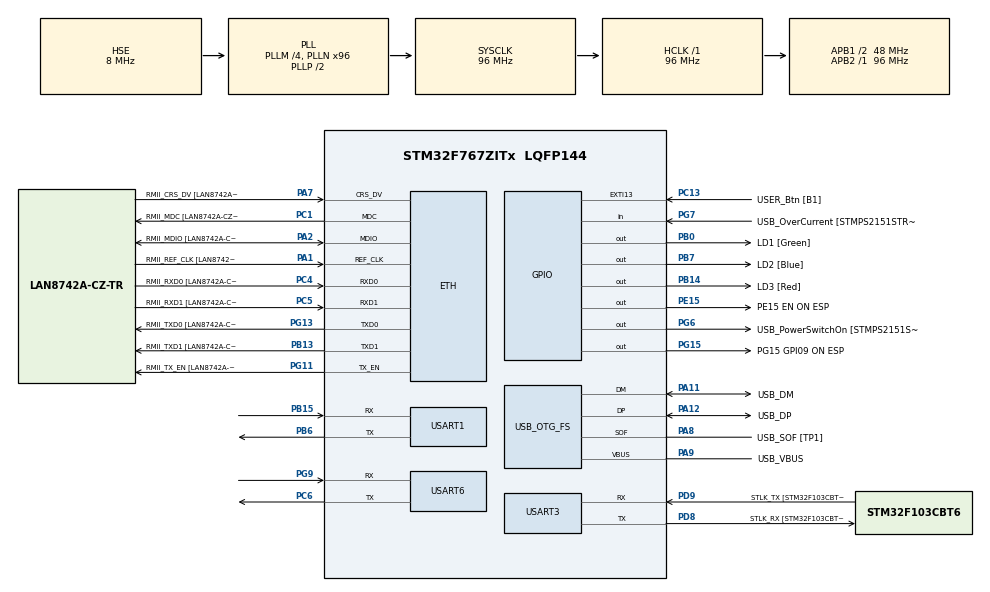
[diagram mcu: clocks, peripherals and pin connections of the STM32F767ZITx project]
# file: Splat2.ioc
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ETH.MediaInterface=ETH_MEDIA_INTERFACE_RMII
FREERTOS.Tasks01=defaultTask,24,128,StartDefaultTask,Default,NULL,Dynamic,NULL,NULL;displayTask,8,128,StartDisplayControllerTask,Default,NULL,Dynamic,NULL,NULL;programmerTask,32,128,StartProgrammerTask,Default,NULL,Dynamic,NULL,NULL
FREERTOS.configUSE_NEWLIB_REENTRANT=1
LWIP.LWIP_NETIF_STATUS_CALLBACK=1
LWIP.Version=v2.1.2_Cube
Mcu.Family=STM32F7
Mcu.Name=STM32F767ZITx
Mcu.Package=LQFP144
NVIC.ETH_IRQn=true\:5\:0\:false\:false\:true\:true\:true\:true
NVIC.OTG_FS_IRQn=true\:5\:0\:false\:false\:true\:true\:false\:true
NVIC.PriorityGroup=NVIC_PRIORITYGROUP_4
NVIC.TIM6_DAC_IRQn=true\:0\:0\:false\:false\:true\:false\:false\:true
NVIC.TimeBase=TIM6_DAC_IRQn
NVIC.TimeBaseIP=TIM6
NVIC.USART3_IRQn=true\:5\:0\:false\:false\:true\:true\:true\:true
PA1.GPIO_Label=RMII_REF_CLK [LAN8742A-CZ-TR_REFCLK0]
PA1.Mode=RMII
PA1.Signal=ETH_REF_CLK
PA10.GPIO_Label=USB_ID
PA10.Signal=USB_OTG_FS_ID
PA11.GPIO_Label=USB_DM
PA11.Mode=Device_Only
PA11.Signal=USB_OTG_FS_DM
PA12.GPIO_Label=USB_DP
PA12.Mode=Device_Only
PA12.Signal=USB_OTG_FS_DP
PA13.GPIO_Label=TMS
PA13.Mode=Serial_Wire
PA13.Signal=SYS_JTMS-SWDIO
PA14.GPIO_Label=TCK
PA14.Mode=Serial_Wire
PA14.Signal=SYS_JTCK-SWCLK
PA2.GPIO_Label=RMII_MDIO [LAN8742A-CZ-TR_MDIO]
PA2.Mode=RMII
PA2.Signal=ETH_MDIO
PA7.GPIO_Label=RMII_CRS_DV [LAN8742A-CZ-TR_CRS_DV]
PA7.Mode=RMII
PA7.Signal=ETH_CRS_DV
PA8.GPIO_Label=USB_SOF [TP1]
PA8.Mode=Activate_SOF_FS
PA8.Signal=USB_OTG_FS_SOF
PA9.GPIO_Label=USB_VBUS
PA9.Mode=Activate_VBUS
PA9.Signal=USB_OTG_FS_VBUS
PB0.GPIO_Label=LD1 [Green]
PB0.Signal=GPIO_Output
PB13.GPIO_Label=RMII_TXD1 [LAN8742A-CZ-TR_TXD1]
PB13.Mode=RMII
PB13.Signal=ETH_TXD1
PB14.GPIO_Label=LD3 [Red]
PB14.Signal=GPIO_Output
PB15.Mode=Asynchronous
PB15.Signal=USART1_RX
PB3.GPIO_Label=SWO
PB3.Signal=SYS_JTDO-SWO
PB6.Mode=Asynchronous
PB6.Signal=USART1_TX
PB7.GPIO_Label=LD2 [Blue]
PB7.Signal=GPIO_Output
PC1.GPIO_Label=RMII_MDC [LAN8742A-CZ-TR_MDC]
PC1.Mode=RMII
PC1.Signal=ETH_MDC
PC13.GPIO_Label=USER_Btn [B1]
PC13.Signal=GPXTI13
PC14/OSC32_IN.Mode=LSE-External-Oscillator
PC14/OSC32_IN.Signal=RCC_OSC32_IN
PC15/OSC32_OUT.Mode=LSE-External-Oscillator
PC15/OSC32_OUT.Signal=RCC_OSC32_OUT
PC4.GPIO_Label=RMII_RXD0 [LAN8742A-CZ-TR_RXD0]
PC4.Mode=RMII
PC4.Signal=ETH_RXD0
PC5.GPIO_Label=RMII_RXD1 [LAN8742A-CZ-TR_RXD1]
PC5.Mode=RMII
PC5.Signal=ETH_RXD1
PC6.Mode=Asynchronous
PC6.Signal=USART6_TX
PD8.GPIO_Label=STLK_RX [STM32F103CBT6_PA3]
PD8.Mode=Asynchronous
PD8.Signal=USART3_TX
PD9.GPIO_Label=STLK_TX [STM32F103CBT6_PA2]
PD9.Mode=Asynchronous
PD9.Signal=USART3_RX
PE15.GPIO_Label=PE15 EN ON ESP
PE15.GPIO_PuPd=GPIO_PULLUP
PE15.PinState=GPIO_PIN_SET
PE15.Signal=GPIO_Output
PG11.GPIO_Label=RMII_TX_EN [LAN8742A-CZ-TR_TXEN]
PG11.Mode=RMII
PG11.Signal=ETH_TX_EN
PG13.GPIO_Label=RMII_TXD0 [LAN8742A-CZ-TR_TXD0]
PG13.Mode=RMII
PG13.Signal=ETH_TXD0
PG15.GPIO_Label=PG15 GPI09 ON ESP
PG15.PinState=GPIO_PIN_SET
PG15.Signal=GPIO_Output
PG6.GPIO_Label=USB_PowerSwitchOn [STMPS2151STR_EN]
PG6.Signal=GPIO_Output
PG7.GPIO_Label=USB_OverCurrent [STMPS2151STR_FAULT]
PG7.Signal=GPIO_Input
PG9.Mode=Asynchronous
PG9.Signal=USART6_RX
PH0/OSC_IN.GPIO_Label=MCO [STM32F103CBT6_PA8]
PH0/OSC_IN.Mode=HSE-External-Clock-Source
PH0/OSC_IN.Signal=RCC_OSC_IN
PH1/OSC_OUT.Mode=HSE-External-Clock-Source
PH1/OSC_OUT.Signal=RCC_OSC_OUT
ProjectManager.HeapSize=0x200
ProjectManager.StackSize=0x400
ProjectManager.TargetToolchain=STM32CubeIDE
RCC.48MHZClocksFreq_Value=24000000
RCC.AHBFreq_Value=96000000
RCC.APB1CLKDivider=RCC_HCLK_DIV2
RCC.APB1Freq_Value=48000000
RCC.APB1TimFreq_Value=96000000
RCC.APB2Freq_Value=96000000
RCC.APB2TimFreq_Value=96000000
RCC.CortexFreq_Value=96000000
RCC.HCLKFreq_Value=96000000
RCC.HSE_VALUE=8000000
RCC.HSI_VALUE=16000000
RCC.PLLM=4
RCC.PLLMUL=RCC_PLL_MUL9
RCC.PLLN=96
RCC.PLLQ=4
RCC.PRESCALERUSB=RCC_USBCLKSOURCE_PLL_DIV1_5
RCC.SYSCLKFreq_VALUE=96000000
RCC.SYSCLKSource=RCC_SYSCLKSOURCE_PLLCLK
RCC.SYSCLKSourceVirtual=RCC_SYSCLKSOURCE_PLLCLK
RCC.USBFreq_Value=48000000
RCC.VCOOutputFreq_Value=192000000
USART1.VirtualMode-Asynchronous=VM_ASYNC
USART3.VirtualMode-Asynchronous=VM_ASYNC
USART6.VirtualMode-Asynchronous=VM_ASYNC
USB_DEVICE.CLASS_NAME_FS=CDC
USB_DEVICE.VirtualMode-CDC_FS=Cdc
USB_DEVICE.VirtualModeFS=Cdc_FS
USB_OTG_FS.VirtualMode=Device_Only
VP_FREERTOS_VS_CMSIS_V2.Mode=CMSIS_V2
VP_LWIP_VS_Enabled.Mode=Enabled
VP_SYS_VS_tim6.Mode=TIM6
VP_USB_DEVICE_VS_USB_DEVICE_CDC_FS.Mode=CDC_FS
board=NUCLEO-F767ZI

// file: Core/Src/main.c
/* USER CODE BEGIN Header */
/**
  ******************************************************************************
  * @file           : main.c
  * @brief          : Main program body
  ******************************************************************************
  * @attention
  *
  * Copyright (c) 2022 STMicroelectronics.
  * All rights reserved.
  *
  * This software is licensed under terms that can be found in the LICENSE file
  * in the root directory of this software component.
  * If no LICENSE file comes with this software, it is provided AS-IS.
  *
  ******************************************************************************
  */
/* USER CODE END Header */
#include "main.h"
#include "cmsis_os.h"
#include "lwip.h"
#include "usart.h"
#include "usb_device.h"
#include "gpio.h"

/* USER CODE BEGIN Includes */

#include "circbuff.h"
#include "tasks\espprogrammer.h"
/* USER CODE END Includes */

/* USER CODE BEGIN PV */
uint8_t incomingfromSTM[1];
uint8_t incomingfromESP[1];
/* USER CODE END PV */

void SystemClock_Config(void);
void MX_FREERTOS_Init(void);
/* USER CODE BEGIN PFP */
uint8_t UART6_rxBuffer[100] = {0};

/* USER CODE END PFP */

int main(void)
{

  /* MCU Configuration--------------------------------------------------------*/

  /* Reset of all peripherals, Initializes the Flash interface and the Systick. */
  HAL_Init();

  /* Configure the system clock */
  SystemClock_Config();

  /* Initialize all configured peripherals */
  MX_GPIO_Init();
  MX_USART3_UART_Init();
  MX_USART6_UART_Init();
  MX_USART1_UART_Init();
  /* USER CODE BEGIN 2 */
  HAL_UART_Receive_IT(&huart6, incomingfromESP, 1);
 // 	HAL_UART_Receive_IT(&huart3, incomingfromSTM, 1);
  /* USER CODE END 2 */

  /* Init scheduler */
  osKernelInitialize();  /* Call init function for freertos objects (in freertos.c) */
  MX_FREERTOS_Init();
  /* Start scheduler */
  osKernelStart();

  /* We should never get here as control is now taken by the scheduler */
  /* Infinite loop */
  while (1)
  {

  }
}

void SystemClock_Config(void)
{
  RCC_OscInitTypeDef RCC_OscInitStruct = {0};
  RCC_ClkInitTypeDef RCC_ClkInitStruct = {0};

  /** Configure LSE Drive Capability
  */
  HAL_PWR_EnableBkUpAccess();
  /** Configure the main internal regulator output voltage
  */
  __HAL_RCC_PWR_CLK_ENABLE();
  __HAL_PWR_VOLTAGESCALING_CONFIG(PWR_REGULATOR_VOLTAGE_SCALE3);
  /** Initializes the RCC Oscillators according to the specified parameters
  * in the RCC_OscInitTypeDef structure.
  */
  RCC_OscInitStruct.OscillatorType = RCC_OSCILLATORTYPE_HSE;
  RCC_OscInitStruct.HSEState = RCC_HSE_BYPASS;
  RCC_OscInitStruct.PLL.PLLState = RCC_PLL_ON;
  RCC_OscInitStruct.PLL.PLLSource = RCC_PLLSOURCE_HSE;
  RCC_OscInitStruct.PLL.PLLM = 4;
  RCC_OscInitStruct.PLL.PLLN = 96;
  RCC_OscInitStruct.PLL.PLLP = RCC_PLLP_DIV2;
  RCC_OscInitStruct.PLL.PLLQ = 4;
  RCC_OscInitStruct.PLL.PLLR = 2;
  if (HAL_RCC_OscConfig(&RCC_OscInitStruct) != HAL_OK)
  {
    Error_Handler();
  }
  /** Activate the Over-Drive mode
  */
  if (HAL_PWREx_EnableOverDrive() != HAL_OK)
  {
    Error_Handler();
  }
  /** Initializes the CPU, AHB and APB buses clocks
  */
  RCC_ClkInitStruct.ClockType = RCC_CLOCKTYPE_HCLK|RCC_CLOCKTYPE_SYSCLK
                              |RCC_CLOCKTYPE_PCLK1|RCC_CLOCKTYPE_PCLK2;
  RCC_ClkInitStruct.SYSCLKSource = RCC_SYSCLKSOURCE_PLLCLK;
  RCC_ClkInitStruct.AHBCLKDivider = RCC_SYSCLK_DIV1;
  RCC_ClkInitStruct.APB1CLKDivider = RCC_HCLK_DIV2;
  RCC_ClkInitStruct.APB2CLKDivider = RCC_HCLK_DIV1;

  if (HAL_RCC_ClockConfig(&RCC_ClkInitStruct, FLASH_LATENCY_3) != HAL_OK)
  {
    Error_Handler();
  }
}

/* USER CODE BEGIN 4 */

void HAL_UART_RxCpltCallback(UART_HandleTypeDef *huart)
{
	if(huart== &huart6)
	{
		// just keep loading up the buffer
		assert(circular_buf_try_put(cbufESPToSTM, (uint8_t) incomingfromESP[0])==0);
		HAL_UART_Receive_IT(&huart6, incomingfromESP, 1);
	}
	if(huart== &huart3)
	{
		// just keep loading up the buffer
		assert(circular_buf_try_put(cbufSTMToESP, (uint8_t) incomingfromSTM[0])==0);
		HAL_UART_Receive_IT(&huart3, incomingfromSTM, 1);
	}
}

#ifdef __GNUC__
#define PUTCHAR_PROTOTYPE int __io_putchar(int ch)
#else
#define PUTCHAR_PROTOTYPE int fputc(int ch, FILE *f)
#endif
 PUTCHAR_PROTOTYPE
 {
   HAL_UART_Transmit(&huart3,(uint8_t*)&ch, 1, 0xFFFF);
   return ch;
 }
/* USER CODE END 4 */

void HAL_TIM_PeriodElapsedCallback(TIM_HandleTypeDef *htim)
{
  if (htim->Instance == TIM6) {
    HAL_IncTick();
  }
}

void Error_Handler(void)
{
  __disable_irq();
  while (1)
  {
  }
}

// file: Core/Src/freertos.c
/* USER CODE BEGIN Header */
/**
  ******************************************************************************
  * File Name          : freertos.c
  * Description        : Code for freertos applications
  ******************************************************************************
  * @attention
  *
  * Copyright (c) 2022 STMicroelectronics.
  * All rights reserved.
  *
  * This software is licensed under terms that can be found in the LICENSE file
  * in the root directory of this software component.
  * If no LICENSE file comes with this software, it is provided AS-IS.
  *
  ******************************************************************************
  */
/* USER CODE END Header */

#include "FreeRTOS.h"
#include "task.h"
#include "main.h"
#include "cmsis_os.h"

/* Definitions for defaultTask */
osThreadId_t defaultTaskHandle;
const osThreadAttr_t defaultTask_attributes = {
  .name = "defaultTask",
  .stack_size = 128 * 4,
  .priority = (osPriority_t) osPriorityNormal,
};
/* Definitions for displayTask */
osThreadId_t displayTaskHandle;
const osThreadAttr_t displayTask_attributes = {
  .name = "displayTask",
  .stack_size = 128 * 4,
  .priority = (osPriority_t) osPriorityLow,
};
/* Definitions for programmerTask */
osThreadId_t programmerTaskHandle;
const osThreadAttr_t programmerTask_attributes = {
  .name = "programmerTask",
  .stack_size = 128 * 4,
  .priority = (osPriority_t) osPriorityAboveNormal,
};

void StartDefaultTask(void *argument);
void StartDisplayControllerTask(void *argument);
void StartProgrammerTask(void *argument);

extern void MX_USB_DEVICE_Init(void);
extern void MX_LWIP_Init(void);
void MX_FREERTOS_Init(void); /* (MISRA C 2004 rule 8.1) */

void MX_FREERTOS_Init(void) {

  /* Create the thread(s) */
  /* creation of defaultTask */
  defaultTaskHandle = osThreadNew(StartDefaultTask, NULL, &defaultTask_attributes);

  /* creation of displayTask */
  displayTaskHandle = osThreadNew(StartDisplayControllerTask, NULL, &displayTask_attributes);

  /* creation of programmerTask */
  programmerTaskHandle = osThreadNew(StartProgrammerTask, NULL, &programmerTask_attributes);

}

void StartDefaultTask(void *argument)
{
  /* init code for USB_DEVICE */
  MX_USB_DEVICE_Init();

  /* init code for LWIP */
  MX_LWIP_Init();
  for(;;)
  {
    osDelay(1);
  }
}

void StartDisplayControllerTask(void *argument)
{
  for(;;)
  {
    osDelay(1);
  }
}

void StartProgrammerTask(void *argument)
{
  for(;;)
  {
    osDelay(1);
  }
}
